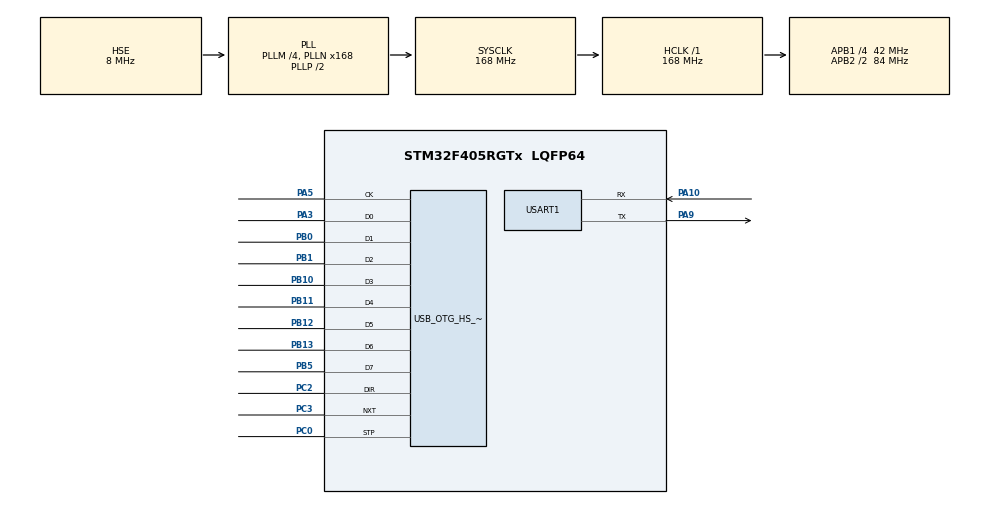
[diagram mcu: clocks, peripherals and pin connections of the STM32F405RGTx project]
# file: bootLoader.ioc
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Mcu.Family=STM32F4
Mcu.Name=STM32F405RGTx
Mcu.Package=LQFP64
NVIC.OTG_HS_IRQn=true\:0\:0\:false\:false\:true\:false\:true\:true
NVIC.PriorityGroup=NVIC_PRIORITYGROUP_4
PA10.Mode=Asynchronous
PA10.Signal=USART1_RX
PA13.Mode=Serial_Wire
PA13.Signal=SYS_JTMS-SWDIO
PA14.Mode=Serial_Wire
PA14.Signal=SYS_JTCK-SWCLK
PA3.Mode=Device_HS
PA3.Signal=USB_OTG_HS_ULPI_D0
PA5.Mode=Device_HS
PA5.Signal=USB_OTG_HS_ULPI_CK
PA9.Mode=Asynchronous
PA9.Signal=USART1_TX
PB0.Mode=Device_HS
PB0.Signal=USB_OTG_HS_ULPI_D1
PB1.Mode=Device_HS
PB1.Signal=USB_OTG_HS_ULPI_D2
PB10.Mode=Device_HS
PB10.Signal=USB_OTG_HS_ULPI_D3
PB11.Mode=Device_HS
PB11.Signal=USB_OTG_HS_ULPI_D4
PB12.Mode=Device_HS
PB12.Signal=USB_OTG_HS_ULPI_D5
PB13.Mode=Device_HS
PB13.Signal=USB_OTG_HS_ULPI_D6
PB5.Mode=Device_HS
PB5.Signal=USB_OTG_HS_ULPI_D7
PC0.Mode=Device_HS
PC0.Signal=USB_OTG_HS_ULPI_STP
PC2.Mode=Device_HS
PC2.Signal=USB_OTG_HS_ULPI_DIR
PC3.Mode=Device_HS
PC3.Signal=USB_OTG_HS_ULPI_NXT
PH0-OSC_IN.Mode=HSE-External-Oscillator
PH0-OSC_IN.Signal=RCC_OSC_IN
PH1-OSC_OUT.Mode=HSE-External-Oscillator
PH1-OSC_OUT.Signal=RCC_OSC_OUT
ProjectManager.HeapSize=0x3c00
ProjectManager.StackSize=0x800
ProjectManager.TargetToolchain=Makefile
RCC.48MHZClocksFreq_Value=48000000
RCC.AHBFreq_Value=168000000
RCC.APB1CLKDivider=RCC_HCLK_DIV4
RCC.APB1Freq_Value=42000000
RCC.APB1TimFreq_Value=84000000
RCC.APB2CLKDivider=RCC_HCLK_DIV2
RCC.APB2Freq_Value=84000000
RCC.APB2TimFreq_Value=168000000
RCC.CortexFreq_Value=168000000
RCC.HCLKFreq_Value=168000000
RCC.HSE_VALUE=8000000
RCC.HSI_VALUE=16000000
RCC.LSE_VALUE=32768
RCC.PLLM=4
RCC.PLLN=168
RCC.PLLQ=7
RCC.PLLSourceVirtual=RCC_PLLSOURCE_HSE
RCC.SYSCLKFreq_VALUE=168000000
RCC.SYSCLKSource=RCC_SYSCLKSOURCE_PLLCLK
RCC.VCOOutputFreq_Value=336000000
USART1.VirtualMode=VM_ASYNC
USB_DEVICE.CLASS_NAME_HS=CDC
USB_DEVICE.VirtualMode-CDC_HS=Cdc
USB_DEVICE.VirtualModeHS=Cdc_HS
USB_OTG_HS.VirtualMode-Device_HS=Device_HS
VP_USB_DEVICE_VS_USB_DEVICE_CDC_HS.Mode=CDC_HS
board=custom

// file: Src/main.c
/* USER CODE BEGIN Header */
/**
  ******************************************************************************
  * @file           : main.c
  * @brief          : Main program body
  ******************************************************************************
  * @attention
  *
  * Copyright (c) 2022 STMicroelectronics.
  * All rights reserved.
  *
  * This software is licensed under terms that can be found in the LICENSE file
  * in the root directory of this software component.
  * If no LICENSE file comes with this software, it is provided AS-IS.
  *
  ******************************************************************************
  */
/* USER CODE END Header */
#include "main.h"
#include "usart.h"
#include "usb_device.h"
#include "gpio.h"

/* USER CODE BEGIN Includes */
#include <stdio.h>
#include "usbd_winUsb.h"
#include "common_inc.h"
/* USER CODE END Includes */

/* USER CODE BEGIN PD */
#define  ProgAddr_Start  0x8008000
#define  SIZE_PER  4096
/* USER CODE END PD */

/* USER CODE BEGIN PV */
extern UsbBuffer_t usbBuffer;
uint16_t recPacketNo;
uint16_t perSize;
/* USER CODE END PV */

void SystemClock_Config(void);

/* USER CODE BEGIN 0 */
//uint32_t _reboot_cookie __attribute__ ((section (".noinit")));
// extern char _estack;
void early_start_checks(void) {
  uint32_t _reboot_cookie;
  _reboot_cookie=*(uint32_t *)0x8008188;
  if(_reboot_cookie == 0xcafebeef)
  {
  //   __set_MSP((uintptr_t)&_estack);  //没有ucos 不需要此行代码
    // printf("tttt begin...\r\n");
    __set_MSP(*(uint32_t *)0x8008000);
    void (*electronbotApp)(void) = (void (*)(void))(*((uint32_t *)0x8008004));
    electronbotApp();

  }

  /* The bootloader might fail to properly clean up after itself,
  so if we're not sure that the system is in a clean state we
  just reset it again */
/*   if(_reboot_cookie != 42)
  {
    _reboot_cookie = 42;
    NVIC_SystemReset();
  }*/
}
int _write(int fd, char *ch, int len)
{
  HAL_UART_Transmit(&huart1, (uint8_t*)ch, len, 0xFFFF);
  return len;
}
void SendUsbPacket(uint8_t* _data, uint32_t _len)
{
    uint8_t ret;
    do
    {
        // ret = CDC_Transmit_HS(_data, _len);
        ret = WinUsb_Transmit_FS(_data, _len);
    } while (ret != USBD_OK);
}
void ReceiveUsbPacketUntilSizeIs(uint32_t _count)
{
    while (usbBuffer.receivedPacketLen != _count);
    usbBuffer.receivedPacketLen = 0;
}
uint8_t* GetExtraDataRxPtr()
{
  uint8_t* ptr;
  ptr=usbBuffer.rxData[usbBuffer.pingPongIndex == 0 ? 1 : 0];
  return ptr + 60 * 240 * 3;
}
uint8_t* GetDataRxPtr()
{
  uint8_t* ptr;
  ptr=usbBuffer.rxData[usbBuffer.pingPongIndex == 0 ? 1 : 0];
  return ptr;
}
void JumpBootLoader(uint8_t *ptr)
{
    usbBuffer.extraDataTx[31] = 0xef;
    usbBuffer.extraDataTx[30] = 0x01;
    usbBuffer.extraDataTx[29] = 0x00;
    SendUsbPacket(usbBuffer.extraDataTx, 32);
    HAL_Delay(50);
    NVIC_SystemReset();
}
void QueryBootLoaderReply(uint8_t *ptr)
{
  usbBuffer.extraDataTx[31] = 0xef;
  usbBuffer.extraDataTx[30] = 0x02;
  usbBuffer.extraDataTx[29] = 0x00;
  SendUsbPacket(usbBuffer.extraDataTx, 32);
}
void EraseAppCodeReply(uint8_t *ptr)
{
  int i;
  uint32_t sectorError;
  uint8_t sectorSize[12]={16,16,16,16,64,128,128,128,128,128,128,128};
  uint32_t calcSize=0;
  FLASH_EraseInitTypeDef EraseInit;
  uint32_t totalSize = *(uint32_t*)(ptr+26);
  uint32_t totalKB = totalSize%1024?(totalSize/1024+1):(totalSize/1024);
  printf("totalSize = %ld  totalKB = %ld\r\n",totalSize,totalKB);
  for(i=2;i<12;i++)  //应用区从0x8004000开始，即是从第一个扇区开始擦除
  {
      calcSize += sectorSize[i];
      if(calcSize >= totalKB)
      {
        // EraseInit.NbSectors = i;
        break;
      }
  }
  printf("index = %d\r\n",i);
  HAL_FLASH_Unlock();
  EraseInit.TypeErase=FLASH_TYPEERASE_SECTORS;
  EraseInit.Banks=FLASH_BANK_1;
  EraseInit.Sector = 2;
  EraseInit.NbSectors = i-1;
  EraseInit.VoltageRange = FLASH_VOLTAGE_RANGE_3;
  HAL_StatusTypeDef ret=HAL_FLASHEx_Erase(&EraseInit,&sectorError);
  printf("ret = %d  sectorError = %ld\r\n",ret,sectorError);
  usbBuffer.extraDataTx[31] = 0xef;
  usbBuffer.extraDataTx[30] = 0x03;
  usbBuffer.extraDataTx[29] = 0x00;
  SendUsbPacket(usbBuffer.extraDataTx, 32);
}
void downLoadAppCodeReply(uint8_t *ptr,uint8_t pacektNo)
{
  int i;
  uint8_t *codeData=GetDataRxPtr();
  for(i = 0; i < perSize; i += 4)
    HAL_FLASH_Program(FLASH_TYPEPROGRAM_WORD,(ProgAddr_Start+recPacketNo*perSize+i),*(uint32_t*)&codeData[i]);
  usbBuffer.extraDataTx[31] = 0xef;
  usbBuffer.extraDataTx[30] = 0x04;
  if(pacektNo == recPacketNo)
    usbBuffer.extraDataTx[29] = 0x00;
  else
    usbBuffer.extraDataTx[29] = 0x01;
  *(uint16_t*)&usbBuffer.extraDataTx[27] = pacektNo;
  SendUsbPacket(usbBuffer.extraDataTx, 32);
}
// typedef  void (*pFunction)(void);

void NoticeCompleteReply(uint8_t *ptr,uint8_t pacektNo)
{
  HAL_FLASH_Lock();
  usbBuffer.extraDataTx[31] = 0xef;
  usbBuffer.extraDataTx[30] = 0x05;
  // usbBuffer.extraDataTx[29] = 0x00;
  *(uint16_t*)&usbBuffer.extraDataTx[28] = pacektNo;
  SendUsbPacket(usbBuffer.extraDataTx, 32);
  HAL_Delay(50);
  NVIC_SystemReset();

  /*  __set_MSP(*(uint32_t *)0x8008000);
    void (*electronbotApp)(void) = (void (*)(void))(*((uint32_t *)0x8008004));
    electronbotApp(); */

}
/* USER CODE END 0 */

int main(void)
{
  /* USER CODE BEGIN 1 */
  uint16_t currentPacketNo=0;

  /* USER CODE END 1 */

  /* MCU Configuration--------------------------------------------------------*/

  /* Reset of all peripherals, Initializes the Flash interface and the Systick. */
  HAL_Init();

  /* Configure the system clock */
  SystemClock_Config();

  /* Initialize all configured peripherals */
  MX_GPIO_Init();

  MX_USART1_UART_Init();
  /* USER CODE BEGIN 2 */
  printf("bootLoader begin...\r\n");
  /* USER CODE END 2 */
  MX_USB_DEVICE_Init();

  /* Infinite loop */
  /* USER CODE BEGIN WHILE */
  while (1)
  {
    ReceiveUsbPacketUntilSizeIs(224);
    uint8_t* ptr = GetExtraDataRxPtr();
    uint16_t cmd = *(uint16_t*)(ptr+30);
    printf("cmd = %.4x\r\n",cmd);
    switch(cmd)
    {
      case 0xfe01:{

        printf("notice to bootLoader\r\n");
        JumpBootLoader(ptr);

      }break;
      case 0xfe02:{
        printf("query bootLoader\r\n");
        QueryBootLoaderReply(ptr);

      }break;
      case 0xfe03:{
        currentPacketNo = 0;
        printf("Erase app code\r\n");
        EraseAppCodeReply(ptr);

      }break;
      case 0xfe04:{
        recPacketNo = *(uint16_t*)(ptr+28);
        perSize = *(uint16_t*)(ptr+24);
        printf("downLoad app code\r\n");
        printf("recPacketNo = %d  perSize=%d\r\n",recPacketNo,perSize);
        downLoadAppCodeReply(ptr,currentPacketNo);
        currentPacketNo ++;

      }break;
      case 0xfe05:{
        printf("complete downLoad app\r\n");
        NoticeCompleteReply(ptr,currentPacketNo);
        //跳转应用区

      }break;
      default:break;
    }
    if(ptr[31] == 0xfe)
    {

    }
    /* USER CODE END WHILE */

  }
}

void SystemClock_Config(void)
{
  RCC_OscInitTypeDef RCC_OscInitStruct = {0};
  RCC_ClkInitTypeDef RCC_ClkInitStruct = {0};

  /** Configure the main internal regulator output voltage
  */
  __HAL_RCC_PWR_CLK_ENABLE();
  __HAL_PWR_VOLTAGESCALING_CONFIG(PWR_REGULATOR_VOLTAGE_SCALE1);

  /** Initializes the RCC Oscillators according to the specified parameters
  * in the RCC_OscInitTypeDef structure.
  */
  RCC_OscInitStruct.OscillatorType = RCC_OSCILLATORTYPE_HSE;
  RCC_OscInitStruct.HSEState = RCC_HSE_ON;
  RCC_OscInitStruct.PLL.PLLState = RCC_PLL_ON;
  RCC_OscInitStruct.PLL.PLLSource = RCC_PLLSOURCE_HSE;
  RCC_OscInitStruct.PLL.PLLM = 4;
  RCC_OscInitStruct.PLL.PLLN = 168;
  RCC_OscInitStruct.PLL.PLLP = RCC_PLLP_DIV2;
  RCC_OscInitStruct.PLL.PLLQ = 7;
  if (HAL_RCC_OscConfig(&RCC_OscInitStruct) != HAL_OK)
  {
    Error_Handler();
  }

  /** Initializes the CPU, AHB and APB buses clocks
  */
  RCC_ClkInitStruct.ClockType = RCC_CLOCKTYPE_HCLK|RCC_CLOCKTYPE_SYSCLK
                              |RCC_CLOCKTYPE_PCLK1|RCC_CLOCKTYPE_PCLK2;
  RCC_ClkInitStruct.SYSCLKSource = RCC_SYSCLKSOURCE_PLLCLK;
  RCC_ClkInitStruct.AHBCLKDivider = RCC_SYSCLK_DIV1;
  RCC_ClkInitStruct.APB1CLKDivider = RCC_HCLK_DIV4;
  RCC_ClkInitStruct.APB2CLKDivider = RCC_HCLK_DIV2;

  if (HAL_RCC_ClockConfig(&RCC_ClkInitStruct, FLASH_LATENCY_5) != HAL_OK)
  {
    Error_Handler();
  }
}

void Error_Handler(void)
{
  __disable_irq();
  while (1)
  {
  }
}
